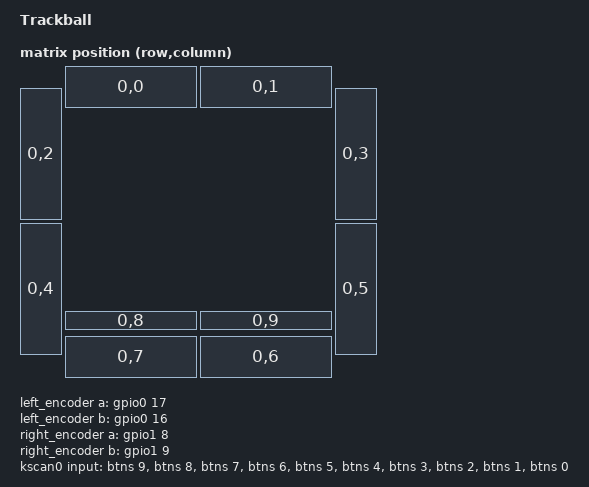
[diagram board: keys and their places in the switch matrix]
/*
 * Copyright (c) 2020 The ZMK Contributors
 *
 * SPDX-License-Identifier: MIT
 */

/dts-v1/;
#include <nordic/nrf52833_qiaa.dtsi>
#include <dt-bindings/zmk/input_transform.h>
#include <dt-bindings/zmk/matrix_transform.h>
#include <physical_layouts.dtsi>
#include <zephyr/dt-bindings/input/input-event-codes.h>
#include <input/processors.dtsi>
#include <dt-bindings/led/led.h>
#include "btns.dtsi"
#include "trbl-pinctrl.dtsi"
#include <dt-bindings/zmk/input_mixer.h>
#include <input/processors/mixer.dtsi>

#define DEFAULT 0
#define L1 1
#define L2 2
#define L3 3
#define L4 4
#define L5 5

/ {
    model = "Trackball";
    compatible = "efogtech,trackball";

    chosen {
        zephyr,code-partition = &code_partition;
        zephyr,sram = &sram0;
        zephyr,flash = &flash0;
        zmk,battery = &vbatt;
        zmk,studio-rpc-uart = &uart0;
        zmk,kscan = &kscan0;
        zmk,physical-layout = &physical_layout0;
        zmk,underglow = &led_strip;
        zmk,backlight = &backlight;
    };

    leds {
        compatible = "gpio-leds";

        led_0 {
            gpios = <&gpio0 9 GPIO_ACTIVE_HIGH>;
        };

        led_1 {
            gpios = <&gpio1 1 GPIO_ACTIVE_HIGH>;
        };

        led_2 {
            gpios = <&gpio0 24 GPIO_ACTIVE_HIGH>;
        };
    };

    vbatt: vbatt {
        compatible = "zmk,battery-voltage-divider";
        io-channels = <&adc 7>;
        output-ohms = <160000>;
        full-ohms = <(160000 + 160000)>;
    };

    left_encoder: encoder_left {
        compatible = "alps,ec11";
        a-gpios = <&gpio0 17 (GPIO_ACTIVE_HIGH | GPIO_PULL_UP)>;
        b-gpios = <&gpio0 16 (GPIO_ACTIVE_HIGH | GPIO_PULL_UP)>;
        steps = <80>;
    };

    right_encoder: encoder_right {
        compatible = "alps,ec11";
        a-gpios = <&gpio1 8 (GPIO_ACTIVE_HIGH | GPIO_PULL_UP)>;
        b-gpios = <&gpio1 9 (GPIO_ACTIVE_HIGH | GPIO_PULL_UP)>;
        steps = <80>;
    };

    sensors {
        compatible = "zmk,keymap-sensors";
        sensors = <&left_encoder &right_encoder>;
        triggers-per-rotation = <20>;
    };

    kscan0: kscan {
        compatible = "zmk,kscan-gpio-direct";
        wakeup-source;
        input-gpios
        = <&btns 9 (GPIO_ACTIVE_LOW)>
        , <&btns 8 (GPIO_ACTIVE_LOW)>
        , <&btns 7 (GPIO_ACTIVE_LOW)>
        , <&btns 6 (GPIO_ACTIVE_LOW)>
        , <&btns 5 (GPIO_ACTIVE_LOW)>
        , <&btns 4 (GPIO_ACTIVE_LOW)>
        , <&btns 3 (GPIO_ACTIVE_LOW)>
        , <&btns 2 (GPIO_ACTIVE_LOW)>
        , <&btns 1 (GPIO_ACTIVE_LOW)>
        , <&btns 0 (GPIO_ACTIVE_LOW)>
        ;
    };

    default_transform: keymap_transform_0 {
        compatible = "zmk,matrix-transform";
        rows = <4>;
        columns = <2>;
        map = <
                  RC(0, 0) RC(0, 1)
                  RC(0, 2) RC(0, 3)
                  RC(0, 4) RC(0, 5)
                  RC(0, 6) RC(0, 7)
                  RC(0, 8) RC(0, 9)
              >;
    };

    physical_layout0: physical_layout_0 {
        compatible = "zmk,physical-layout";
        display-name = "Default Layout";

        transform = <&default_transform>;
        kscan = <&kscan0>;

        keys  //               w    h   x   y   rot rx ry
        = <&key_physical_attrs 270  90  90  0   0   0  0>
        , <&key_physical_attrs 270  90  360 0   0   0  0>
        , <&key_physical_attrs 90   270 0   45  0   0  0>
        , <&key_physical_attrs 90   270 630 45  0   0  0>
        , <&key_physical_attrs 90   270 0   315 0   0  0>
        , <&key_physical_attrs 90   270 630 315 0   0  0>
        , <&key_physical_attrs 270  90  360 540 0   0  0>
        , <&key_physical_attrs 270  90  90  540 0   0  0>
        , <&key_physical_attrs 270  45  90  490 0   0  0>
        , <&key_physical_attrs 270  45  360 490 0   0  0>
        ;
    };

    position_map {
        compatible = "zmk,physical-layout-position-map";
        complete;

        layout1: layout1 {
            physical-layout = <&physical_layout0>;
            positions
            = <0 1>
            , <2 3>
            , <4 5>
            , <6 7>
            , <8 9>
            ;
        };
    };

    backlight: pwmleds {
        compatible = "pwm-leds";

        pwm_led_0 {
            pwms = <&pwm0 0 PWM_MSEC(10) PWM_POLARITY_NORMAL>;
        };
    };

    output_node {
        compatible = "zmk,input-listener";
        device = <&zip_2s_mixer>;
    };

    trackball_primary_listener: trackball_primary_listener {
        compatible = "zmk,input-listener";
        device = <&trackball_primary>;

        listener {
            layers = <DEFAULT>;
            input-processors = <&zip_2s_mixer INPUT_MIXER_SENSOR1>;
            process-next;
        };
    };

    trackball_secondary_listener: trackball_secondary_listener {
        compatible = "zmk,input-listener";
        device = <&trackball_secondary>;

        listener {
            layers = <DEFAULT>;
            input-processors = <&zip_2s_mixer INPUT_MIXER_SENSOR2>;
            process-next;
        };
    };
};

&zip_2s_mixer {
    status = "okay";
	sync-report-ms = <1>; // 1: 300-400 Hz, 2-4: 250 Hz
	sync-report-yaw-ms = <4>;
	yaw-div = <4>;
	yaw-mul = <1>;
	yaw-interference-thres = <6>; // CPI dependent
	yaw-thres = <2>; // CPI dependent
	ball-radius = <102>;
	sensor1-pos = [31 4B 2D];
	sensor2-pos = [C1 3C 2D];
};

&spi0 {
    status = "okay";
    compatible = "nordic,nrf-spim";
    pinctrl-0 = <&spi0_default>;
    pinctrl-1 = <&spi0_sleep>;
    pinctrl-names = "default", "sleep";
    cs-gpios = <&gpio0 30 GPIO_ACTIVE_LOW>;
	clock-frequency = <2000000>;

    trackball_primary: trackball_primary@0 {
        status = "okay";
        compatible = "pixart,pmw3610";
		init-retry-interval = <100>;
		init-retry-count = <10>;
        reg = <0>;
        spi-max-frequency = <2000000>;
        irq-gpios = <&gpio0 2 (GPIO_ACTIVE_LOW | GPIO_PULL_UP)>;
        cpi = <600>;
        evt-type = <INPUT_EV_REL>;
        x-input-code = <INPUT_REL_X>;
        y-input-code = <INPUT_REL_Y>;

        force-awake;
        force-high-performance;
		xy-swap;
		x-invert;
		y-invert;
    };
};

&spi1 {
    status = "okay";
    compatible = "nordic,nrf-spim";
    pinctrl-0 = <&spi1_default>;
    pinctrl-1 = <&spi1_sleep>;
    pinctrl-names = "default", "sleep";
    cs-gpios = <&gpio1 7 GPIO_ACTIVE_LOW>;
	clock-frequency = <2000000>;

    trackball_secondary: trackball_secondary@0 {
        status = "okay";
        compatible = "pixart,pmw3610";
		init-retry-interval = <100>;
		init-retry-count = <10>;
        reg = <0>;
        spi-max-frequency = <2000000>;
        irq-gpios = <&gpio1 4 (GPIO_ACTIVE_LOW | GPIO_PULL_UP)>;
        cpi = <600>;
        evt-type = <INPUT_EV_REL>;
        x-input-code = <INPUT_REL_X>;
        y-input-code = <INPUT_REL_Y>;

        force-awake;
        force-high-performance;
		xy-swap;
    };
};

&spi3 {
    compatible = "nordic,nrf-spim";
    status = "okay";
    pinctrl-0 = <&spi3_default>;
    pinctrl-1 = <&spi3_sleep>;
    pinctrl-names = "default", "sleep";

    led_strip: ws2812@0 {
        compatible = "worldsemi,ws2812-spi";
        reg = <0>;
        spi-max-frequency = <4000000>;
		chain-length = <16>;
        spi-one-frame = <0x70>;
        spi-zero-frame = <0x40>;
        color-mapping = <LED_COLOR_ID_GREEN LED_COLOR_ID_RED LED_COLOR_ID_BLUE>;
    };
};

&left_encoder {
	status = "okay";
};

&right_encoder {
	status = "okay";
};

&uart0 {
	compatible = "nordic,nrf-uarte";
	status = "okay";
	current-speed = <115200>;
	pinctrl-0 = <&uart0_default>;
	pinctrl-1 = <&uart0_sleep>;
	pinctrl-names = "default", "sleep";
};

&adc {
	status = "okay";
};

&gpiote {
	status = "okay";
};

&gpio0 {
	status = "okay";
};

&gpio1 {
	status = "okay";
};

&i2c0 {
	compatible = "nordic,nrf-twi";
	pinctrl-0 = <&i2c0_default>;
	pinctrl-1 = <&i2c0_sleep>;
	pinctrl-names = "default", "sleep";
};

&pwm0 {
    status = "okay";
    pinctrl-0 = <&pwm0_default>;
    pinctrl-1 = <&pwm0_sleep>;
    pinctrl-names = "default", "sleep";
};

zephyr_udc0: &usbd {
    status = "okay";
};

&radio {
	status = "okay";
	dfe-antenna-num = <12>;
	dfe-pdu-antenna = <0x0>;
	dfegpio0-gpios = <&gpio0 13 0>;
	dfegpio1-gpios = <&gpio0 22 0>;
	dfegpio2-gpios = <&gpio0 14 0>;
	dfegpio3-gpios = <&gpio1 2 0>;
};

&flash0 {
    partitions {
        compatible = "fixed-partitions";
        #address-cells = <1>;
        #size-cells = <1>;

        sd_partition: partition@0 {
            reg = <0x0 DT_SIZE_K(4)>;
        };

        code_partition: partition@1000 {
            reg = <DT_SIZE_K(4) DT_SIZE_K(428)>;
        };

        storage_partition: partition@6c000 {
            reg = <0x0006c000 0x00008000>;
        };
    };
};
